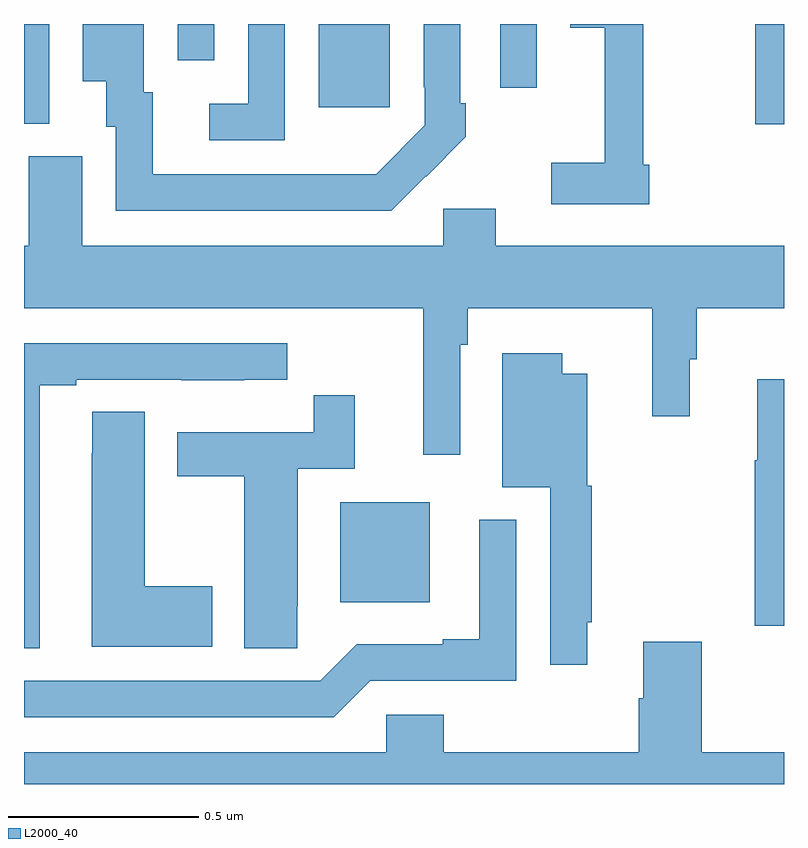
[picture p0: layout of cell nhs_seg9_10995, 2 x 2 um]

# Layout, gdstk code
import gdstk
lib = gdstk.Library(unit=1e-6, precision=1e-09)
def R(c, l, rs):  # rectangles x0, y0, x1, y1
    for r in rs: c.add(gdstk.rectangle(r[:2], r[2:], *l))
def P(c, l, *ps):  # polygons
    for p in ps: c.add(gdstk.Polygon(p, *l))
L2000_40 = (2000, 40)

nhs_seg9_10995 = lib.new_cell('nhs_seg9_10995')
R(nhs_seg9_10995, L2000_40, [(250.832,1196.978,251.068,1197.241), (251.924,1198.236,252,1198.5), (250,1198.237,250.066,1198.5), (250.775,1198.281,250.963,1198.5), (251.253,1198.332,251.349,1198.5), (250.404,1198.404,250.5,1198.5)])
P(nhs_seg9_10995, L2000_40, [(251.057,1198.099),(251.058,1198.098),(251.163,1198.203),(251.163,1198.291),(251.148,1198.291),(251.148,1198.5),(251.052,1198.5),(251.052,1198.333),(251.055,1198.333),(251.055,1198.233),(250.927,1198.105),(250.823,1198.105),(250.823,1198.104),(250.339,1198.104),(250.339,1198.32),(250.315,1198.32),(250.315,1198.5),(250.154,1198.5),(250.154,1198.349),(250.217,1198.349),(250.217,1198.23),(250.242,1198.23),(250.242,1198.008),(250.966,1198.008)],
  [(251.645,1198.129),(251.63,1198.129),(251.63,1198.5),(251.438,1198.5),(251.438,1198.49),(251.528,1198.49),(251.528,1198.135),(251.388,1198.135),(251.388,1198.026),(251.645,1198.026)],
  [(250.686,1198.5),(250.59,1198.5),(250.59,1198.29),(250.488,1198.29),(250.488,1198.194),(250.686,1198.194)],
  [(251.148,1197.656),(251.168,1197.656),(251.168,1197.752),(251.653,1197.752),(251.653,1197.468),(251.752,1197.468),(251.752,1197.618),(251.771,1197.618),(251.771,1197.752),(252,1197.752),(252,1197.916),(251.242,1197.916),(251.242,1198.014),(251.103,1198.014),(251.103,1197.916),(250.153,1197.916),(250.153,1198.152),(250.013,1198.152),(250.013,1197.916),(250,1197.916),(250,1197.752),(251.051,1197.752),(251.051,1197.366),(251.148,1197.366)],
  [(250.042,1197.549),(250.138,1197.549),(250.138,1197.564),(250.414,1197.564),(250.414,1197.563),(250.58,1197.563),(250.58,1197.564),(250.693,1197.564),(250.693,1197.66),(250,1197.66),(250,1196.857),(250.042,1196.857)],
  [(251.482,1196.926),(251.494,1196.926),(251.494,1197.285),(251.482,1197.285),(251.482,1197.58),(251.416,1197.58),(251.416,1197.634),(251.258,1197.634),(251.258,1197.281),(251.385,1197.281),(251.385,1196.814),(251.482,1196.814)],
  [(252,1197.565),(251.93,1197.565),(251.93,1197.352),(251.923,1197.352),(251.923,1196.916),(252,1196.916)],
  [(250.719,1196.968),(250.72,1196.968),(250.72,1197.33),(250.871,1197.33),(250.871,1197.523),(250.762,1197.523),(250.762,1197.426),(250.403,1197.426),(250.403,1197.31),(250.58,1197.31),(250.58,1196.857),(250.719,1196.857)],
  [(250.495,1197.021),(250.318,1197.021),(250.318,1197.479),(250.179,1197.479),(250.179,1197.371),(250.178,1197.371),(250.178,1196.861),(250.495,1196.861)],
  [(250.911,1196.772),(251.295,1196.772),(251.295,1197.196),(251.198,1197.196),(251.198,1196.881),(251.102,1196.881),(251.102,1196.868),(250.875,1196.868),(250.779,1196.772),(250,1196.772),(250,1196.676),(250.815,1196.676)],
  [(252,1196.584),(251.783,1196.584),(251.783,1196.875),(251.63,1196.875),(251.63,1196.726),(251.618,1196.726),(251.618,1196.584),(251.105,1196.584),(251.105,1196.682),(250.953,1196.682),(250.953,1196.584),(250,1196.584),(250,1196.5),(252,1196.5)])

lib.write_gds('nhs_seg9_10995.gds')
